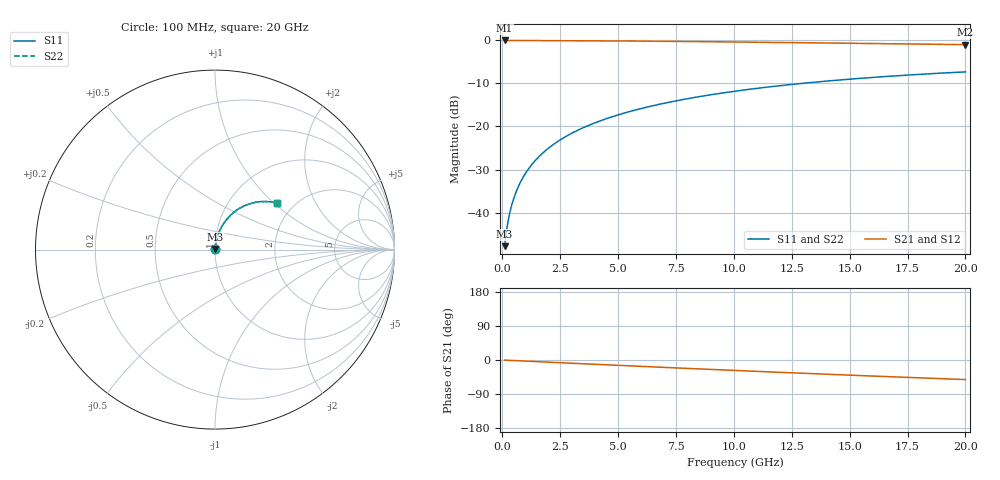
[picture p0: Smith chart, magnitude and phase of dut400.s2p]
! Touchstone file exported from HFSS 2026.1.0
!  File:  C:/ffzhzh/LocalFiles/Ansys_Project_Files/temp_train_TMRDL_400_1783004877_53980.aedt
!  Generated:  11:09:31 PM Jul  2, 2026
!  Design:  TMRDL
!  Project:  temp_train_TMRDL_400_1783004877_53980
! Variables:
!  h_bsmrdl = 2um
!  h_ox = 20um
!  h_rdl = 5um
!  h_sub = 80um
!  h_tmrdl = 4.07um
!  h_tsv = 80um
!  h_via = 3um
!  l_bsmrdl = 300um
!  l_sub = 1184.81um
!  l_tmrdl = 784.81um
!  m_sub = 200um
!  pitch = 58.72um
!  r_tsv = 6um
!  s_tmrdl = 10um
!  w_bsmrdl = 18um
!  w_sub = 500um
!  w_tmrdl = 28.28um
!  x_tsv_center1 = 798.95um
!  x_tsv_center2 = 1116.95um
!  x_tsv_center3 = 1930.04um
!  x_tsv_center4 = 2248.04um
!  x_tsv_center5 = 3061.13um
!  x_tsv_center6 = 3379.13um
# GHz S MA R 50.000000
! Terminal data exported
! Port[1] = TM_RDL1_1_T1
! Port[2] = TM_RDL1_1_T2
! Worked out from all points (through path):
!   200 points, 100 MHz to 20 GHz, reference 50 ohm
!   highest |S21| = -0.02 dB at 100 MHz (marker M1); lowest = -1.0 dB at 20 GHz (marker M2)
!   group delay of S21, straight-line fit = 7.18 ps
!   lowest |S11| = -47.8 dB at 100 MHz (marker M3), VSWR 1.01, Z = 50.3 + j0.31 ohm
!   |S11| at or under -10 dB: start of sweep to 12.93 GHz
!   |S22| runs from -47.8 to -7.3 dB; largest |S21 - S12| = 6.2e-15
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0.1  0.004076 49.1  0.9973 -0.3  0.9973 -0.3  0.004076 49.1
! Gamma 0 0 0 0
! Port Impedance 50 0 50 0
0.2  0.006677 64.0  0.9971 -0.6  0.9971 -0.6  0.006677 64.0
0.3  0.009362 70.2  0.9969 -0.9  0.9969 -0.9  0.009362 70.2
0.4  0.01206 73.6  0.9968 -1.2  0.9968 -1.2  0.01206 73.6
0.5  0.01476 75.8  0.9967 -1.5  0.9967 -1.5  0.01476 75.8
0.7  0.02022 78.4  0.9964 -2.0  0.9964 -2.0  0.02022 78.4
0.8  0.02297 79.2  0.9963 -2.3  0.9963 -2.3  0.02297 79.2
1  0.02849 80.1  0.9961 -2.9  0.9961 -2.9  0.02849 80.1
1.2  0.03402 80.5  0.9959 -3.4  0.9959 -3.4  0.03402 80.5
1.4  0.03956 80.7  0.9956 -4.0  0.9956 -4.0  0.03956 80.7
1.7  0.04785 80.6  0.9951 -4.9  0.9951 -4.9  0.04785 80.6
2  0.05613 80.2  0.9945 -5.7  0.9945 -5.7  0.05613 80.2
2.7  0.07529 79.0  0.9928 -7.7  0.9928 -7.7  0.07529 79.0
3.5  0.09688 77.1  0.9904 -9.9  0.9904 -9.9  0.09688 77.1
4.2  0.1154 75.4  0.9879 -11.9  0.9879 -11.9  0.1154 75.4
5  0.1363 73.4  0.9847 -14.1  0.9847 -14.1  0.1363 73.4
6.8  0.1815 68.7  0.9762 -19.0  0.9762 -19.0  0.1815 68.7
8.3  0.2173 64.9  0.9681 -23.0  0.9681 -23.0  0.2173 64.9
10.1  0.2579 60.3  0.9574 -27.7  0.9574 -27.7  0.2579 60.4
13.4  0.3252 52.2  0.9359 -36.1  0.9359 -36.1  0.3252 52.3
16.7  0.3827 44.4  0.9136 -44.1  0.9136 -44.1  0.3827 44.5
20  0.4304 37.0  0.8921 -51.7  0.8921 -51.7  0.4304 37.0
